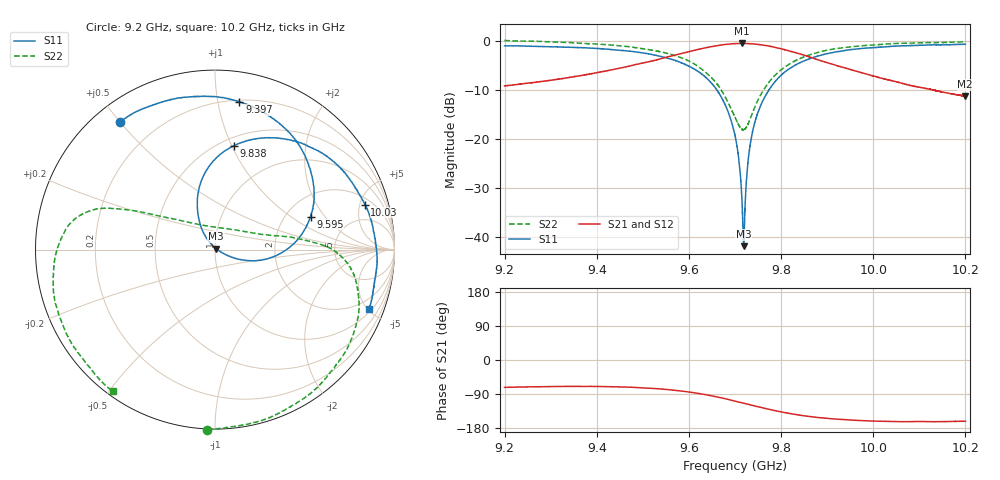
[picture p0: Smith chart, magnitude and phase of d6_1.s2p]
!Agilent Technologies,N5242A,MY51221714,A.09.90.19
!Agilent N5242A: A.09.90.19
!Date: Friday, February 02, 2024 13:20:14
!Correction: S11(Full 2 Port(1,2))
!S21(Full 2 Port(1,2))
!S12(Full 2 Port(1,2))
!S22(Full 2 Port(1,2))
!S2P File: Measurements: S11, S21, S12, S22:
# Hz S  dB  R 50
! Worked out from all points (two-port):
!   16001 points, 9.2 GHz to 10.2 GHz, reference 50 ohm
!   highest |S21| = -0.55 dB at 9.716 GHz (marker M1); lowest = -11.3 dB at 10.2 GHz (marker M2)
!   |S21| within 3 dB of the highest: 9.543 GHz to 9.869 GHz (325.9 MHz wide, 3.36 % of centre); 9.869549 GHz to 9.869572 GHz (23.05 kHz wide, 0.000234 % of centre)
!   lowest |S11| = -41.8 dB at 9.719 GHz (marker M3), VSWR 1.02, Z = 50.6 + j0.59 ohm
!   |S11| at or under -10 dB: 9.66 GHz to 9.774 GHz (113.3 MHz wide, 1.17 % of centre)
!   |S22| runs from -18.2 to 0.0 dB; largest |S21 - S12| = 0.026
!   S11 on the Smith chart (normalised r, x): 9.2 GHz: 0.08, +0.50; 9.397 GHz: 0.21, +1.16; 9.595 GHz: 2.70, +1.46; 9.838 GHz: 0.58, +1.02; 10.03 GHz: 2.68, +5.55; 10.2 GHz: 1.19, -5.09
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9.2e9  -1.06 126.9  -9.19 -72.1  -9.15 -73.5  0.03 -92.5
9.366688e9  -1.42 88.3  -7.07 -69.7  -7.06 -71.0  -0.55 -47.3
9.397125e9  -1.57 80.6  -6.56 -69.9  -6.53 -71.2  -0.67 -39.5
9.533375e9  -3.09 41.6  -3.81 -75.9  -3.78 -77.2  -2.17 -9.5
9.595312e9  -4.99 19.1  -2.36 -83.7  -2.32 -85.1  -3.94 0.9
9.661875e9  -10.18 -8.7  -1.00 -97.6  -0.98 -99.0  -8.92 12.3
9.7e9  -19.30 -23.9  -0.60 -108.4  -0.58 -109.8  -15.57 39.9
9.709125e9  -24.77 -24.8  -0.57 -111.1  -0.54 -112.5  -17.32 57.9
9.715688e9  -33.68 -14.7  -0.55 -113.1  -0.53 -114.5  -18.04 75.4
9.718688e9  -41.79 45.8  -0.57 -114.0  -0.54 -115.4  -18.17 84.5
9.721688e9  -34.14 112.9  -0.56 -114.9  -0.53 -116.3  -17.89 93.5
9.727e9  -25.79 126.0  -0.59 -116.4  -0.56 -118.0  -17.24 108.0
9.732125e9  -21.62 126.0  -0.61 -118.0  -0.58 -119.5  -16.08 119.0
9.750188e9  -14.46 118.0  -0.76 -123.4  -0.74 -124.9  -12.00 139.6
9.787125e9  -8.31 101.9  -1.35 -133.7  -1.34 -135.2  -6.99 152.4
9.838062e9  -4.62 79.7  -2.62 -145.0  -2.61 -146.4  -3.76 159.2
9.866688e9  -3.52 68.4  -3.47 -150.0  -3.44 -151.4  -2.75 162.7
9.94125e9  -1.95 43.0  -5.60 -157.6  -5.60 -159.1  -1.36 175.1
1.003338e10  -1.19 17.0  -7.98 -162.0  -7.97 -163.5  -0.65 -166.0
1.003462e10  -1.20 16.7  -8.02 -162.0  -8.00 -163.5  -0.65 -165.8
1.019969e10  -0.73 -21.0  -11.30 -161.5  -11.28 -163.1  -0.24 -125.9
1.02e10  -0.73 -21.1  -11.29 -161.7  -11.28 -163.1  -0.24 -125.8
